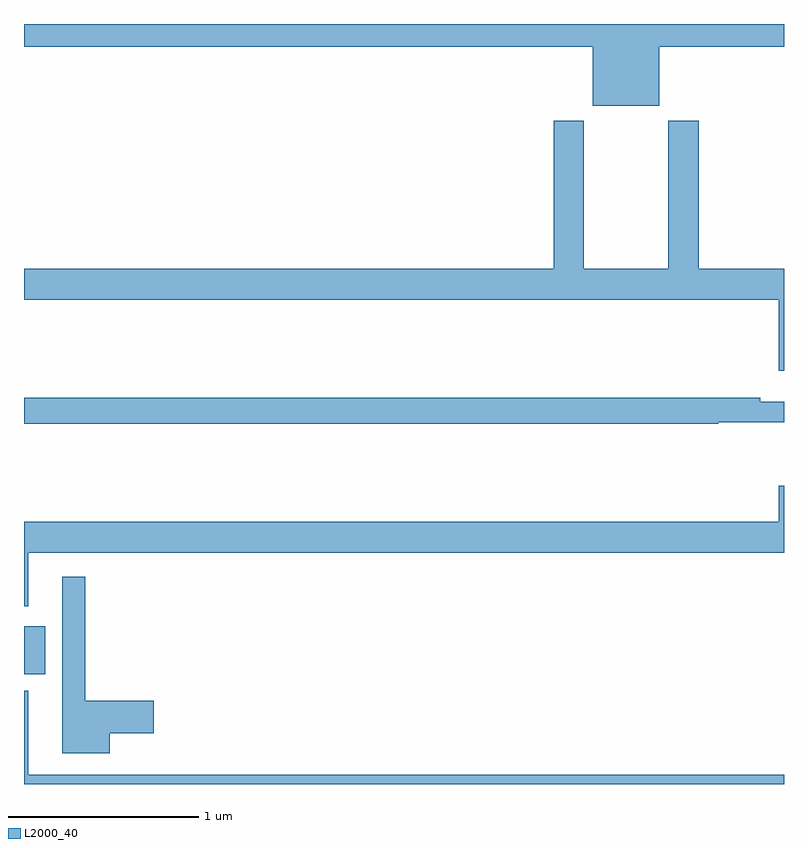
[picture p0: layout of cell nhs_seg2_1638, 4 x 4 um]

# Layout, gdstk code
import gdstk
lib = gdstk.Library(unit=1e-6, precision=1e-09)
def R(c, l, rs):  # rectangles x0, y0, x1, y1
    for r in rs: c.add(gdstk.rectangle(r[:2], r[2:], *l))
def P(c, l, *ps):  # polygons
    for p in ps: c.add(gdstk.Polygon(p, *l))
L2000_40 = (2000, 40)

nhs_seg2_1638 = lib.new_cell('nhs_seg2_1638')
R(nhs_seg2_1638, L2000_40, [(197,600.377,197.113,600.631)])
P(nhs_seg2_1638, L2000_40, [(200.344,603.68),(201,603.68),(201,603.8),(197,603.8),(197,603.68),(199.994,603.68),(199.994,603.371),(200.344,603.371)],
  [(201,602.512),(200.552,602.512),(200.552,603.292),(200.392,603.292),(200.392,602.512),(199.947,602.512),(199.947,603.292),(199.787,603.292),(199.787,602.512),(197,602.512),(197,602.348),(200.972,602.348),(200.972,601.974),(201,601.974)],
  [(200.655,601.704),(201,601.704),(201,601.813),(200.876,601.813),(200.876,601.832),(197,601.832),(197,601.696),(200.655,601.696)],
  [(197.023,601.016),(201,601.016),(201,601.369),(200.972,601.369),(200.972,601.18),(197,601.18),(197,600.735),(197.023,600.735)],
  [(197.452,600.068),(197.683,600.068),(197.683,600.239),(197.323,600.239),(197.323,600.892),(197.201,600.892),(197.201,599.963),(197.452,599.963)],
  [(201,599.848),(197.023,599.848),(197.023,600.292),(197,600.292),(197,599.8),(201,599.8)])

lib.write_gds('nhs_seg2_1638.gds')
